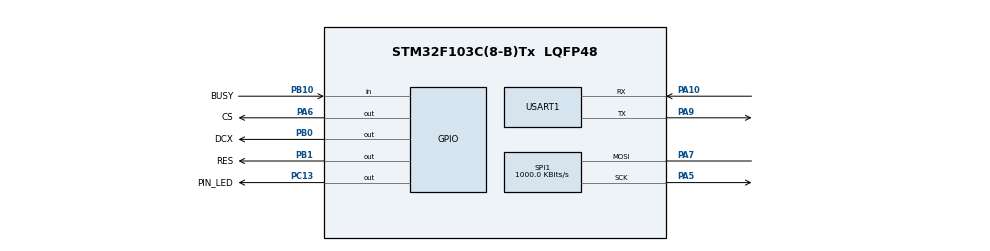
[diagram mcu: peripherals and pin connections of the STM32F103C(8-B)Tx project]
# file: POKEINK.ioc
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Mcu.Family=STM32F1
Mcu.Name=STM32F103C(8-B)Tx
Mcu.Package=LQFP48
NVIC.PriorityGroup=NVIC_PRIORITYGROUP_4
PA10.Mode=Asynchronous
PA10.Signal=USART1_RX
PA5.Mode=Simplex_Bidirectional_Master
PA5.Signal=SPI1_SCK
PA6.GPIO_Label=CS
PA6.GPIO_Speed=GPIO_SPEED_FREQ_HIGH
PA6.PinState=GPIO_PIN_SET
PA6.Signal=GPIO_Output
PA7.Mode=Simplex_Bidirectional_Master
PA7.Signal=SPI1_MOSI
PA9.Mode=Asynchronous
PA9.Signal=USART1_TX
PB0.GPIO_Label=DCX
PB0.GPIO_Speed=GPIO_SPEED_FREQ_HIGH
PB0.Signal=GPIO_Output
PB1.GPIO_Label=RES
PB1.GPIO_Speed=GPIO_SPEED_FREQ_HIGH
PB1.PinState=GPIO_PIN_SET
PB1.Signal=GPIO_Output
PB10.GPIO_Label=BUSY
PB10.GPIO_Mode=GPIO_MODE_INPUT
PB10.GPIO_PuPd=GPIO_PULLUP
PB10.Signal=GPIO_Input
PC13-TAMPER-RTC.GPIO_Label=PIN_LED
PC13-TAMPER-RTC.PinState=GPIO_PIN_SET
PC13-TAMPER-RTC.Signal=GPIO_Output
ProjectManager.HeapSize=0x200
ProjectManager.StackSize=0x400
ProjectManager.TargetToolchain=STM32CubeIDE
RCC.APB1Freq_Value=8000000
RCC.APB2Freq_Value=8000000
SPI1.BaudRatePrescaler=SPI_BAUDRATEPRESCALER_8
SPI1.CalculateBaudRate=1000.0 KBits/s
SPI1.Direction=SPI_DIRECTION_1LINE
SPI1.FirstBit=SPI_FIRSTBIT_MSB
SPI1.Mode=SPI_MODE_MASTER
SPI1.VirtualType=VM_MASTER
USART1.VirtualMode=VM_ASYNC
VP_SYS_VS_ND.Mode=No_Debug
board=custom

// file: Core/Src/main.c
/* USER CODE BEGIN Header */
/**
  ******************************************************************************
  * @file           : main.c
  * @brief          : Main program body
  ******************************************************************************
  * @attention
  *
  * Copyright (c) 2025 STMicroelectronics.
  * All rights reserved.
  *
  * This software is licensed under terms that can be found in the LICENSE file
  * in the root directory of this software component.
  * If no LICENSE file comes with this software, it is provided AS-IS.
  *
  ******************************************************************************
  */
/* USER CODE END Header */
#include "main.h"
#include "spi.h"
#include "usart.h"
#include "gpio.h"

/* USER CODE BEGIN Includes */
#include "epd.h"
#include "font_8x16.h"
/* USER CODE END Includes */

/* USER CODE BEGIN PV */
uint8_t usart_cmd;
uint8_t usart_data[20];
/* USER CODE END PV */

void SystemClock_Config(void);

int main(void)
{

  /* MCU Configuration--------------------------------------------------------*/

  /* Reset of all peripherals, Initializes the Flash interface and the Systick. */
  HAL_Init();

  /* Configure the system clock */
  SystemClock_Config();

  /* Initialize all configured peripherals */
  MX_GPIO_Init();
  MX_SPI1_Init();
  MX_USART1_UART_Init();
  /* USER CODE BEGIN 2 */
  HAL_EPD_Init();

  /*
		  EPD_clear();
		  EPD_drawStr(0, 0, "2025/11/27", font_8x16, RED);
		  EPD_drawStr(0, 16, "EPD Driver", font_8x16, BLACK);

		  EPD_drawPie(50, 100, 30, 20, 90, BLACK);
		  EPD_drawPie(50, 100, 30, 20, 40, RED);

		  EPD_update();
   */

  /* USER CODE END 2 */

  /* Infinite loop */
  /* USER CODE BEGIN WHILE */

  uint8_t ACK = 0x67;

  while (1)
  {
	  HAL_Delay(1);
	  HAL_UART_Receive(&huart1, &usart_cmd, 1, HAL_MAX_DELAY);
	  switch(usart_cmd){
	  	  int y0, y1, x0, x1;
	  	  case 0x00:
	  		  EPD_clear();
	  		  HAL_UART_Transmit(&huart1, &ACK, 1, HAL_MAX_DELAY);
	  		  break;
	  	  case 0x01:
	  		  EPD_update();
	  		  HAL_UART_Transmit(&huart1, &ACK, 1, HAL_MAX_DELAY);
	  		  break;
	  	  case 0x02:	// XX XX YY YY CLOR
	  		  HAL_UART_Receive(&huart1, usart_data, 5, HAL_MAX_DELAY);

	  		  x0 = usart_data[1] | (usart_data[0] << 8);
	  		  y0 = usart_data[3] | (usart_data[2] << 8);

	  		  EPD_drawPixel(
	  				  x0,
					  y0,
					  usart_data[4]		// color
	  		  );

	  		  HAL_UART_Transmit(&huart1, &ACK, 1, HAL_MAX_DELAY);
	  		  break;
	  	  case 0x03:	// XX XX YY YY MASK CLOR
	  		  HAL_UART_Receive(&huart1, usart_data, 6, HAL_MAX_DELAY);

	  		  x0 = usart_data[1] | (usart_data[0] << 8);
	  		  y0 = usart_data[3] | (usart_data[2] << 8);

	  		  EPD_drawByte(
	  				  x0,
					  y0,
					  usart_data[4],	// bit mask
					  usart_data[5]		// color
	  		  );

	  		  HAL_UART_Transmit(&huart1, &ACK, 1, HAL_MAX_DELAY);
	  		  break;
	  	  case 0x04:	// XX XX YY YY CHAR CLOR
	  		  HAL_UART_Receive(&huart1, usart_data, 6, HAL_MAX_DELAY);

	  		  x0 = usart_data[1] | (usart_data[0] << 8);
	  		  y0 = usart_data[3] | (usart_data[2] << 8);

	  		  EPD_drawChar(
	  				  x0,
					  y0,
					  usart_data[4],	// char
					  font_8x16,
					  usart_data[5]		// color
	  		  );

	  		  HAL_UART_Transmit(&huart1, &ACK, 1, HAL_MAX_DELAY);
	  		  break;
	  	  case 0x05:	// XX XX YY YY RO RI PT CLOR
	  		  HAL_UART_Receive(&huart1, usart_data, 8, HAL_MAX_DELAY);

	  		  x0 = usart_data[1] | (usart_data[0] << 8);
	  		  y0 = usart_data[3] | (usart_data[2] << 8);

	  		  EPD_drawPie(
	  				  x0,
					  y0,
					  usart_data[4],	// outer radius
					  usart_data[5],	// inner radius
					  usart_data[6],	// percentage
					  usart_data[7]		// color
	  		  );

	  		  HAL_UART_Transmit(&huart1, &ACK, 1, HAL_MAX_DELAY);
	  		  break;
	  	  case 0x06:	// XX XX YY YY XX XX YY YY CLOR
	  		  HAL_UART_Receive(&huart1, usart_data, 9, HAL_MAX_DELAY);

	  		  x0 = usart_data[1] | (usart_data[0] << 8);
	  		  y0 = usart_data[3] | (usart_data[2] << 8);
	  		  x1 = usart_data[5] | (usart_data[4] << 8);
	  		  y1 = usart_data[7] | (usart_data[6] << 8);

	  		  EPD_drawLine(
	  				  x0,
					  y0,
					  x1,
					  y1,
					  usart_data[8]		// color
	  		  );

	  		  HAL_UART_Transmit(&huart1, &ACK, 1, HAL_MAX_DELAY);
	  		  break;
	  	  case 0x07:	// XX XX YY YY XX XX YY YY CLOR
	  		  HAL_UART_Receive(&huart1, usart_data, 9, HAL_MAX_DELAY);

	  		  x0 = usart_data[1] | (usart_data[0] << 8);
	  		  y0 = usart_data[3] | (usart_data[2] << 8);
	  		  x1 = usart_data[5] | (usart_data[4] << 8);
	  		  y1 = usart_data[7] | (usart_data[6] << 8);

	  		  EPD_drawRectFilled(
	  				  x0,
					  y0,
					  x1,
					  y1,
					  usart_data[8]		// color
	  		  );

	  		  HAL_UART_Transmit(&huart1, &ACK, 1, HAL_MAX_DELAY);
	  		  break;
	  	  case 0x08: // XX XX YY YY CLOR CHAR*16
	  		  HAL_UART_Receive(&huart1, usart_data, 21, HAL_MAX_DELAY);

	  		  x0 = usart_data[1] | (usart_data[0] << 8);
	  		  y0 = usart_data[3] | (usart_data[2] << 8);

	  		  char str[17] = {0};
	  		  for(int i = 5; i < 21; i++){
	  			  str[i - 5] = usart_data[i];
	  			  if(usart_data[i] == 0x00) break;
	  		  }

	  		  EPD_drawStr(
	  				  x0,
					  y0,
					  str,
					  font_8x16,
					  usart_data[4]	// color
	  		  );

	  		  HAL_UART_Transmit(&huart1, &ACK, 1, HAL_MAX_DELAY);
	  		  break;
	  }
	  /* USER CODE END WHILE */

  }
}

void SystemClock_Config(void)
{
  RCC_OscInitTypeDef RCC_OscInitStruct = {0};
  RCC_ClkInitTypeDef RCC_ClkInitStruct = {0};

  /** Initializes the RCC Oscillators according to the specified parameters
  * in the RCC_OscInitTypeDef structure.
  */
  RCC_OscInitStruct.OscillatorType = RCC_OSCILLATORTYPE_HSI;
  RCC_OscInitStruct.HSIState = RCC_HSI_ON;
  RCC_OscInitStruct.HSICalibrationValue = RCC_HSICALIBRATION_DEFAULT;
  RCC_OscInitStruct.PLL.PLLState = RCC_PLL_NONE;
  if (HAL_RCC_OscConfig(&RCC_OscInitStruct) != HAL_OK)
  {
    Error_Handler();
  }

  /** Initializes the CPU, AHB and APB buses clocks
  */
  RCC_ClkInitStruct.ClockType = RCC_CLOCKTYPE_HCLK|RCC_CLOCKTYPE_SYSCLK
                              |RCC_CLOCKTYPE_PCLK1|RCC_CLOCKTYPE_PCLK2;
  RCC_ClkInitStruct.SYSCLKSource = RCC_SYSCLKSOURCE_HSI;
  RCC_ClkInitStruct.AHBCLKDivider = RCC_SYSCLK_DIV1;
  RCC_ClkInitStruct.APB1CLKDivider = RCC_HCLK_DIV1;
  RCC_ClkInitStruct.APB2CLKDivider = RCC_HCLK_DIV1;

  if (HAL_RCC_ClockConfig(&RCC_ClkInitStruct, FLASH_LATENCY_0) != HAL_OK)
  {
    Error_Handler();
  }
}

void Error_Handler(void)
{
  __disable_irq();
  while (1)
  {
  }
}
